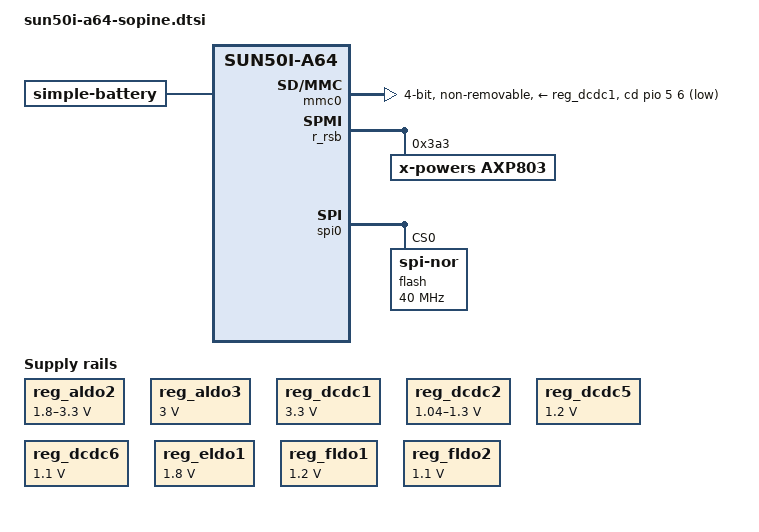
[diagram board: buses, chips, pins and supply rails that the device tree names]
// SPDX-License-Identifier: (GPL-2.0+ OR MIT)
// Copyright (c) 2017 Icenowy Zheng <icenowy@aosc.xyz>
// Based on sun50i-a64-pine64.dts, which is:
//   Copyright (c) 2016 ARM Ltd.

#include "sun50i-a64.dtsi"
#include "sun50i-a64-cpu-opp.dtsi"

#include <dt-bindings/gpio/gpio.h>

/ {


	bat: battery {
			compatible = "simple-battery";
			over-voltage-threshold-microvolt = <4500000>;
			re-charge-voltage-microvolt = <3000000>;

			voltage-min-design-microvolt = <3000000>;
			voltage-max-design-microvolt = <4200000>;
			energy-full-design-microwatt-hours = <2795000>;
			charge-full-design-microamp-hours = <650000>;
			precharge-current-microamp = <130000>;
			precharge-upper-limit-microvolt = <3200000>;
			charge-term-current-microamp = <50000>;
			constant-charge-current-max-microamp = <450000>;
			constant-charge-voltage-max-microvolt = <4200000>;
			factory-internal-resistance-micro-ohms = <150000>;
			ocv-capacity-celsius = <20>;
			perso-dtc=<240183>;
			disable-temperature-sensor;
			ocv-capacity-table-0 =
				<4150000 100>,
				<4138141 99>,
				<4125369 98>,
				<4115335 97>,
				<4105300 96>,
				<4096178 95>,
				<4083406 94>,
				<4074284 93>,
				<4066073 92>,
				<4057863 91>,
				<4048741 90>,
				<4041443 89>,
				<4032320 88>,
				<4020461 87>,
				<4012251 86>,
				<4002216 85>,
				<3994918 84>,
				<3985796 83>,
				<3977586 82>,
				<3965727 81>,
				<3958428 80>,
				<3950218 79>,
				<3942920 78>,
				<3935622 77>,
				<3926500 76>,
				<3918290 75>,
				<3908255 74>,
				<3902782 73>,
				<3897308 72>,
				<3888186 71>,
				<3878151 70>,
				<3867204 69>,
				<3851696 68>,
				<3843486 67>,
				<3837100 66>,
				<3830714 65>,
				<3826153 64>,
				<3821592 63>,
				<3816118 62>,
				<3809733 61>,
				<3804259 60>,
				<3793312 59>,
				<3786014 58>,
				<3779629 57>,
				<3772331 56>,
				<3765945 55>,
				<3759559 54>,
				<3753173 53>,
				<3747700 52>,
				<3738578 51>,
				<3732192 50>,
				<3728543 49>,
				<3724894 48>,
				<3720333 47>,
				<3715771 46>,
				<3712122 45>,
				<3708473 44>,
				<3704824 43>,
				<3701176 42>,
				<3698439 41>,
				<3695702 40>,
				<3692053 39>,
				<3689316 38>,
				<3686580 37>,
				<3682931 36>,
				<3677457 35>,
				<3674720 34>,
				<3672896 33>,
				<3670159 32>,
				<3669247 31>,
				<3667422 30>,
				<3664686 29>,
				<3665598 28>,
				<3661949 27>,
				<3659212 26>,
				<3658300 25>,
				<3655563 24>,
				<3652827 23>,
				<3650090 22>,
				<3649178 21>,
				<3644616 20>,
				<3642792 19>,
				<3639143 18>,
				<3635494 17>,
				<3630933 16>,
				<3625459 15>,
				<3615424 14>,
				<3609951 13>,
				<3602653 12>,
				<3596267 11>,
				<3590794 10>,
				<3585320 9>,
				<3580759 8>,
				<3575286 7>,
				<3562514 6>,
				<3552480 5>,
				<3534235 4>,
				<3503218 3>,
				<3449396 2>,
				<3370031 1>,
				<3256000 0>;

  };
};

&codec_analog {
	cpvdd-supply = <&reg_eldo1>;
};

&cpu0 {
	cpu-supply = <&reg_dcdc2>;
};

&cpu1 {
	cpu-supply = <&reg_dcdc2>;
};

&cpu2 {
	cpu-supply = <&reg_dcdc2>;
};

&cpu3 {
	cpu-supply = <&reg_dcdc2>;
};

&mmc0 {
	pinctrl-names = "default";
	pinctrl-0 = <&mmc0_pins>;
	vmmc-supply = <&reg_dcdc1>;
	non-removable;
	disable-wp;
	bus-width = <4>;
	cd-gpios = <&pio 5 6 GPIO_ACTIVE_LOW>; /* PF6 */
	status = "okay";
};

&r_rsb {
	status = "okay";

	axp803: pmic@3a3 {
		compatible = "x-powers,axp803";
		reg = <0x3a3>;
		interrupt-parent = <&r_intc>;
		interrupts = <0 IRQ_TYPE_LEVEL_LOW>;
	};
};

&spi0  {
	status = "okay";

	flash@0 {
		#address-cells = <1>;
		#size-cells = <1>;
		compatible = "jedec,spi-nor";
		reg = <0>;
		spi-max-frequency = <40000000>;
	};
};

#include "axp803.dtsi"

&battery_power_supply {
	status = "okay";
	monitored-battery = <&bat>;
};

&usb_power_supply {
	status = "okay";
};

&reg_aldo2 {
	regulator-always-on;
	regulator-min-microvolt = <1800000>;
	regulator-max-microvolt = <3300000>;
	regulator-name = "vcc-pl";
};

&reg_aldo3 {
	regulator-always-on;
	regulator-min-microvolt = <3000000>;
	regulator-max-microvolt = <3000000>;
	regulator-name = "vcc-pll-avcc";
};

&reg_dcdc1 {
	regulator-always-on;
	regulator-min-microvolt = <3300000>;
	regulator-max-microvolt = <3300000>;
	regulator-name = "vcc-3v3";
};

&reg_dcdc2 {
	regulator-always-on;
	regulator-min-microvolt = <1040000>;
	regulator-max-microvolt = <1300000>;
	regulator-name = "vdd-cpux";
};

/* DCDC3 is polyphased with DCDC2 */

&reg_dcdc5 {
	regulator-always-on;
	regulator-min-microvolt = <1200000>;
	regulator-max-microvolt = <1200000>;
	regulator-name = "vcc-dram";
};

&reg_dcdc6 {
	regulator-always-on;
	regulator-min-microvolt = <1100000>;
	regulator-max-microvolt = <1100000>;
	regulator-name = "vdd-sys";
};

&reg_eldo1 {
	regulator-always-on;
	regulator-min-microvolt = <1800000>;
	regulator-max-microvolt = <1800000>;
	regulator-name = "vdd-1v8-lpddr";
};

&reg_fldo1 {
	regulator-min-microvolt = <1200000>;
	regulator-max-microvolt = <1200000>;
	regulator-name = "vcc-1v2-hsic";
};

/*
 * The A64 chip cannot work without this regulator off, although
 * it seems to be only driving the AR100 core.
 * Maybe we don't still know well about CPUs domain.
 */
&reg_fldo2 {
	regulator-always-on;
	regulator-min-microvolt = <1100000>;
	regulator-max-microvolt = <1100000>;
	regulator-name = "vdd-cpus";
};

&reg_rtc_ldo {
	regulator-name = "vcc-rtc";
};
